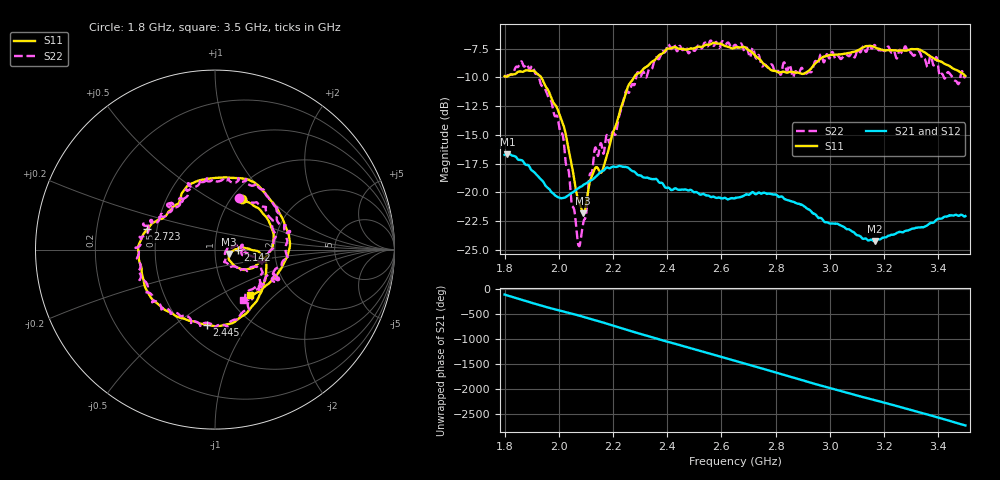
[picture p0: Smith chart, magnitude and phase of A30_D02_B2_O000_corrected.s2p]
! Created with skrf 1.9.0 (http://scikit-rf.org).
# Hz S RI R 50.0
!freq ReS11 ImS11 ReS21 ImS21 ReS12 ImS12 ReS22 ImS22
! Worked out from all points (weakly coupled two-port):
!   1601 points, 1.8 GHz to 3.5 GHz, reference 50 ohm
!   highest |S21| = -16.68 dB at 1.811 GHz (marker M1); lowest = -24.2 dB at 3.165 GHz (marker M2)
!   lowest |S11| = -21.8 dB at 2.09 GHz (marker M3), VSWR 1.18, Z = 58.3 - j2.89 ohm
!   |S11| at or under -10 dB: 1.935 GHz to 2.278 GHz (342.8 MHz wide, 16.3 % of centre)
!   |S22| runs from -24.7 to -6.8 dB; largest |S21 - S12| = 0.0025
!   S11 on the Smith chart (normalised r, x): 1.8 GHz: 1.12, +0.70; 2.142 GHz: 1.29, -0.01; 2.445 GHz: 0.65, -0.66; 2.723 GHz: 0.44, +0.12; 3.5 GHz: 1.25, -0.71
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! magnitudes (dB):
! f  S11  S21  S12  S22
! 1.8 GHz  -9.9  -16.7  -16.7  -9.9
! 1.811 GHz  -9.9  -16.7  -16.7  -9.8
! 1.902 GHz  -9.4  -18.1  -18.1  -9.0
! 1.967 GHz  -11.4  -19.8  -19.8  -11.9
! 2.014 GHz  -14.0  -20.5  -20.5  -15.0
! 2.071 GHz  -20.5  -19.7  -19.7  -24.5
! 2.084 GHz  -21.5  -19.5  -19.4  -23.6
! 2.09 GHz  -21.8  -19.4  -19.4  -22.7
! 2.116 GHz  -19.0  -19.0  -19.0  -18.4
! 2.142 GHz  -17.8  -18.5  -18.5  -16.7
! 2.162 GHz  -18.0  -18.1  -18.1  -16.5
! 2.209 GHz  -14.3  -17.8  -17.7  -15.0
! 2.26 GHz  -10.6  -17.9  -17.9  -11.3
! 2.367 GHz  -8.1  -19.1  -19.0  -8.4
! 2.445 GHz  -7.5  -19.8  -19.8  -7.3
! 2.65 GHz  -7.4  -20.5  -20.5  -7.2
! 2.723 GHz  -8.1  -20.1  -20.1  -8.1
! 2.812 GHz  -9.6  -20.4  -20.3  -9.5
! 2.934 GHz  -9.2  -21.7  -21.7  -9.5
! 3.165 GHz  -7.4  -24.2  -24.2  -7.2
! 3.217 GHz  -7.7  -23.8  -23.7  -7.4
! 3.5 GHz  -9.9  -22.1  -22.0  -9.8
